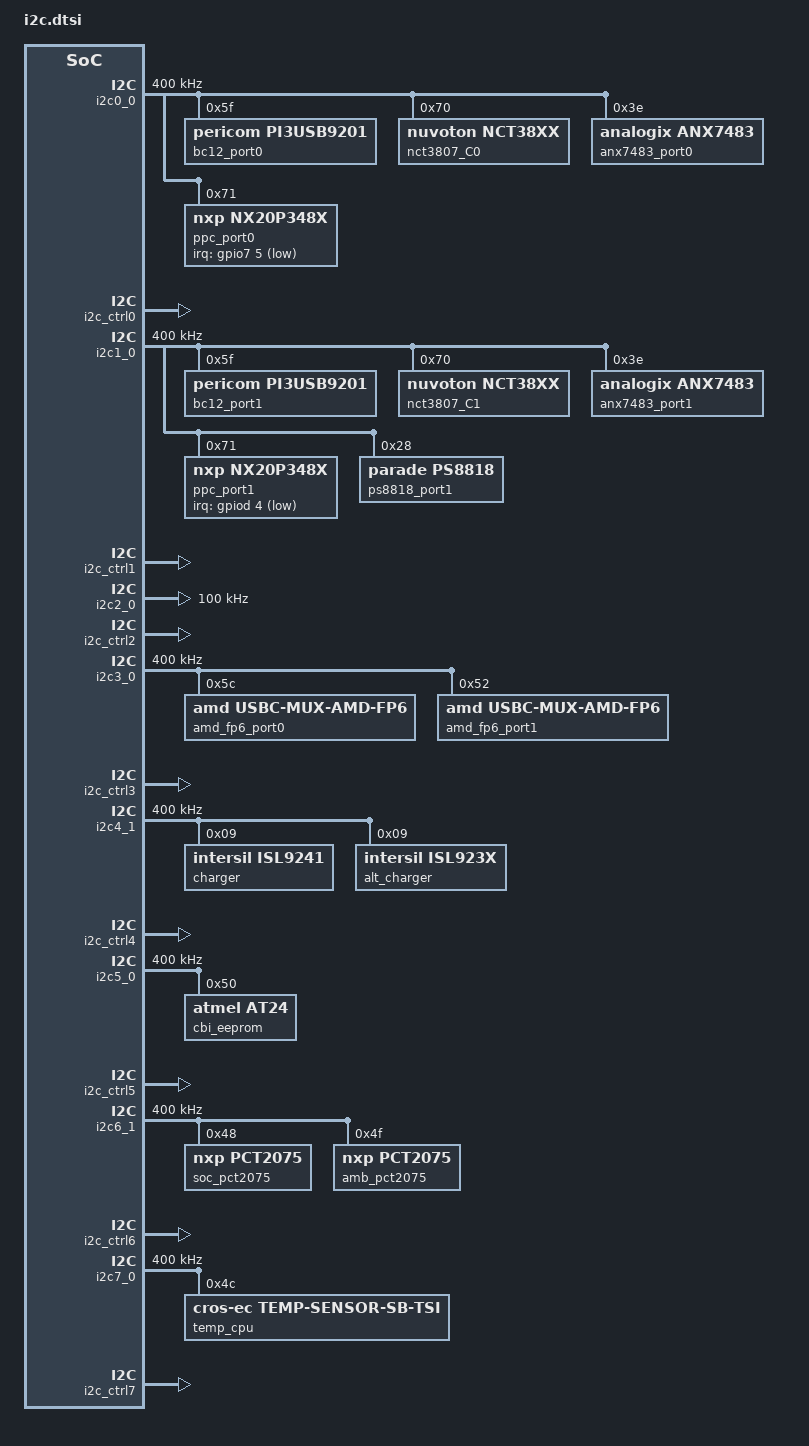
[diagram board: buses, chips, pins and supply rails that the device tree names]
/* Copyright 2021 The ChromiumOS Authors
 * Use of this source code is governed by a BSD-style license that can be
 * found in the LICENSE file.
 */

 #include <dt-bindings/usb_pd_tcpm.h>
 #include <dt-bindings/usbc_mux.h>

/ {
	aliases {
		i2c-0 = &i2c0_0;
		i2c-1 = &i2c1_0;
		i2c-2 = &i2c2_0;
		i2c-3 = &i2c3_0;
		i2c-4 = &i2c4_1;
		i2c-5 = &i2c5_0;
		i2c-7 = &i2c7_0;
	};

	named-i2c-ports {
		compatible = "named-i2c-ports";

		i2c_tcpc0: tcpc0 {
			i2c-port = <&i2c0_0>;
			enum-names = "I2C_PORT_TCPC0";
		};

		i2c_tcpc1: tcpc1 {
			i2c-port = <&i2c1_0>;
			enum-names = "I2C_PORT_TCPC1";
		};

		battery {
			i2c-port = <&i2c2_0>;
			remote-port = <0>;
			enum-names = "I2C_PORT_BATTERY";
		};

		usb-mux {
			i2c-port = <&i2c3_0>;
			enum-names = "I2C_PORT_USB_MUX";
		};

		i2c_charger: charger {
			i2c-port = <&i2c4_1>;
			enum-names = "I2C_PORT_CHARGER";
		};

		eeprom {
			i2c-port = <&i2c5_0>;
			enum-names = "I2C_PORT_EEPROM";
		};

		i2c_sensor: sensor {
			i2c-port = <&i2c6_1>;
			enum-names = "I2C_PORT_SENSOR";
		};

		i2c_soc_thermal: soc-thermal {
			i2c-port = <&i2c7_0>;
			enum-names = "I2C_PORT_THERMAL_AP";
		};
	};


};

&i2c0_0 {
	status = "okay";
	label = "I2C_TCPC0";
	clock-frequency = <I2C_BITRATE_FAST>;
	pinctrl-0 = <&i2c0_0_sda_scl_gpb4_b5>;
	pinctrl-names = "default";

	bc12_port0: pi3usb9201@5f {
		compatible = "pericom,pi3usb9201";
		status = "okay";
		reg = <0x5f>;
		irq = <&int_usb_c0_bc12>;
	};

	nct3807_C0: nct38xx@70 {
		compatible = "nuvoton,nct38xx";
		reg = <0x70>;

		tcpc_port0: nct38xx-tcpc {
			compatible = "nuvoton,nct38xx-tcpc";
			gpio-dev = <&nct3807_C0>;
			tcpc-flags = <(TCPC_FLAGS_TCPCI_REV2_0)>;
			/* a duplicate of the <&gpio_usb_c0_tcpc_int_odl> node
			 * in "named-gpios". This is the Zephyr preferred style,
			 * the "named-gpios" node will be dealt with at a later
			 * date.
			 */
			irq-gpios = <&gpioe 0 GPIO_ACTIVE_LOW>;
			/* a duplicate of the <&gpio_usb_c0_tcpc_rst_l> node in
			 * named-gpios". This is the Zephyr preferred style,
			 * the "named-gpios" node will be dealt with at a later
			 * date.
			 */
			rst-gpios = <&gpio3 4 GPIO_ACTIVE_LOW>;
		};

		nct38xx-gpio {
			#address-cells = <1>;
			#size-cells = <0>;
			compatible = "nuvoton,nct38xx-gpio";
			label = "NCT3807_C0";

			ioex_c0_port0: gpio@0 {
				compatible = "nuvoton,nct38xx-gpio-port";
				reg = <0x0>;
				label = "NCT3807_C0_GPIO0";
				gpio-controller;
				#gpio-cells = <2>;
				ngpios = <8>;
				pin_mask = <0xff>;
				pinmux_mask = <0xf7>;
			};
			ioex_c0_port1: gpio@1 {
				compatible = "nuvoton,nct38xx-gpio-port";
				reg = <0x1>;
				label = "NCT3807_C0_GPIO1";
				gpio-controller;
				#gpio-cells = <2>;
				ngpios = <8>;
				pin_mask = <0xff>;
			};
		};
	};

	anx7483_port0: anx7483@3e {
		compatible = "analogix,anx7483";
		reg = <0x3e>;
		board-set = "board_anx7483_c0_mux_set";
		flags = <USB_MUX_FLAG_RESETS_IN_G3>;
	};

	ppc_port0: nx20p348x@71 {
		compatible = "nxp,nx20p348x";
		status = "okay";
		reg = <0x71>;
		/* a duplicate of the <&gpio_usb_c0_ppc_int_odl> node in
		 * "named-gpios". This is the Zephyr preferred style,
		 * the "named-gpios" node will be dealt with at a later date.
		 */
		irq-gpios = <&gpio7 5 GPIO_ACTIVE_LOW>;
	};
};

&i2c_ctrl0 {
	status = "okay";
};

&i2c1_0 {
	status = "okay";
	label = "I2C_TCPC1";
	clock-frequency = <I2C_BITRATE_FAST>;
	pinctrl-0 = <&i2c1_0_sda_scl_gp87_90>;
	pinctrl-names = "default";

	bc12_port1: pi3usb9201@5f {
		compatible = "pericom,pi3usb9201";
		status = "okay";
		reg = <0x5f>;
		irq = <&int_usb_c1_bc12>;
	};

	nct3807_C1: nct38xx@70 {
		compatible = "nuvoton,nct38xx";
		reg = <0x70>;

		tcpc_port1: nct38xx-tcpc {
			compatible = "nuvoton,nct38xx-tcpc";
			gpio-dev = <&nct3807_C1>;
			tcpc-flags = <(TCPC_FLAGS_TCPCI_REV2_0)>;
			/* a duplicate of the <&gpio_usb_c1_tcpc_int_odl> node
			 * in "named-gpios". This is the Zephyr preferred style,
			 * the "named-gpios" node will be dealt with at a later
			 * date.
			 */
			irq-gpios = <&gpioc 7 GPIO_ACTIVE_LOW>;
			/* a duplicate of the <&gpio_usb_c1_tcpc_rst_l> node
			 * in "named-gpios". This is the Zephyr preferred style,
			 * the "named-gpios" node will be dealt with at a later
			 * date.
			 */
			rst-gpios = <&gpio3 7 GPIO_ACTIVE_LOW>;
		};

		nct38xx-gpio {
			#address-cells = <1>;
			#size-cells = <0>;
			compatible = "nuvoton,nct38xx-gpio";
			label = "NCT3807_C1";

			ioex_c1_port0: gpio@0 {
				compatible = "nuvoton,nct38xx-gpio-port";
				reg = <0x0>;
				label = "NCT3807_C1_GPIO0";
				gpio-controller;
				#gpio-cells = <2>;
				ngpios = <8>;
				pin_mask = <0xff>;
				pinmux_mask = <0xf7>;
			};
			ioex_c1_port1: gpio@1 {
				compatible = "nuvoton,nct38xx-gpio-port";
				reg = <0x1>;
				label = "NCT3807_C1_GPIO1";
				gpio-controller;
				#gpio-cells = <2>;
				ngpios = <8>;
				pin_mask = <0xff>;
			};
		};
	};

	anx7483_port1: anx7483@3e {
		compatible = "analogix,anx7483";
		reg = <0x3e>;
		board-set = "board_anx7483_c1_mux_set";
		flags = <USB_MUX_FLAG_RESETS_IN_G3>;
	};

	ppc_port1: nx20p348x@71 {
		compatible = "nxp,nx20p348x";
		status = "okay";
		reg = <0x71>;
		/* a duplicate of the <&gpio_usb_c1_ppc_int_odl> node in
		 * "named-gpios". This is the Zephyr preferred style,
		 * the "named-gpios" node will be dealt with at a later date.
		 */
		irq-gpios = <&gpiod 4 GPIO_ACTIVE_LOW>;
	};

	ps8818_port1: ps8818@28 {
		compatible = "parade,ps8818";
		reg = <0x28>;
		flags = <(USB_MUX_FLAG_RESETS_IN_G3)>;
		board-set = "board_c1_ps8818_mux_set";
	};
};

&i2c_ctrl1 {
	status = "okay";
};

&i2c2_0 {
	status = "okay";
	label = "I2C_BATTERY";
	clock-frequency = <I2C_BITRATE_STANDARD>;
	pinctrl-0 = <&i2c2_0_sda_scl_gp91_92>;
	pinctrl-names = "default";
};

&i2c_ctrl2 {
	status = "okay";
};

&i2c3_0 {
	status = "okay";
	label = "I2C_USB_MUX";
	clock-frequency = <I2C_BITRATE_FAST>;
	pinctrl-0 = <&i2c3_0_sda_scl_gpd0_d1>;
	pinctrl-names = "default";

	amd_fp6_port0: amd_fp6@5c {
		compatible = "amd,usbc-mux-amd-fp6";
		status = "okay";
		reg = <0x5c>;

		board-set = "board_mux_set";
	};
	amd_fp6_port1: amd_fp6@52 {
		compatible = "amd,usbc-mux-amd-fp6";
		status = "okay";
		reg = <0x52>;

		board-set = "board_mux_set";
	};
};

&i2c_ctrl3 {
	status = "okay";
};

&i2c4_1 {
	status = "okay";
	label = "I2C_CHARGER";
	clock-frequency = <I2C_BITRATE_FAST>;
	pinctrl-0 = <&i2c4_1_sda_scl_gpf2_f3>;
	pinctrl-names = "default";

	charger: isl9241@9 {
		compatible = "intersil,isl9241";
		status = "okay";
		reg = <0x9>;
	};

	alt_charger: isl9538@9 {
		compatible = "intersil,isl923x";
		status = "okay";
		reg = <0x9>;
	};
};

&i2c_ctrl4 {
	status = "okay";
};

&i2c5_0 {
	status = "okay";
	label = "I2C_EEPROM";
	clock-frequency = <I2C_BITRATE_FAST>;
	pinctrl-0 = <&i2c5_0_sda_scl_gp33_36>;
	pinctrl-names = "default";

	cbi_eeprom: eeprom@50 {
		compatible = "atmel,at24";
		reg = <0x50>;
		size = <2048>;
		pagesize = <16>;
		address-width = <8>;
		timeout = <5>;
	};
};

&i2c_ctrl5 {
	status = "okay";
};

&i2c6_1 {
	status = "okay";
	label = "I2C_SENSOR";
	clock-frequency = <I2C_BITRATE_FAST>;
	pinctrl-0 = <&i2c6_1_sda_scl_gpe3_e4>;
	pinctrl-names = "default";

	soc_pct2075: soc-pct2075@48 {
		compatible = "nxp,pct2075";
		reg = <0x48>;
	};

	amb_pct2075: amb-pct2075@4f {
		compatible = "nxp,pct2075";
		reg = <0x4f>;
	};
};

&i2c_ctrl6 {
	status = "okay";
};

&i2c7_0 {
	status = "okay";
	label = "I2C_THERMAL_AP";
	clock-frequency = <I2C_BITRATE_FAST>;
	pinctrl-0 = <&i2c7_0_sda_scl_gpb2_b3>;
	pinctrl-names = "default";

	temp_cpu: cpu@4c {
		compatible = "cros-ec,temp-sensor-sb-tsi";
		reg = <0x4c>;
	};
};

&i2c_ctrl7 {
	status = "okay";
};
